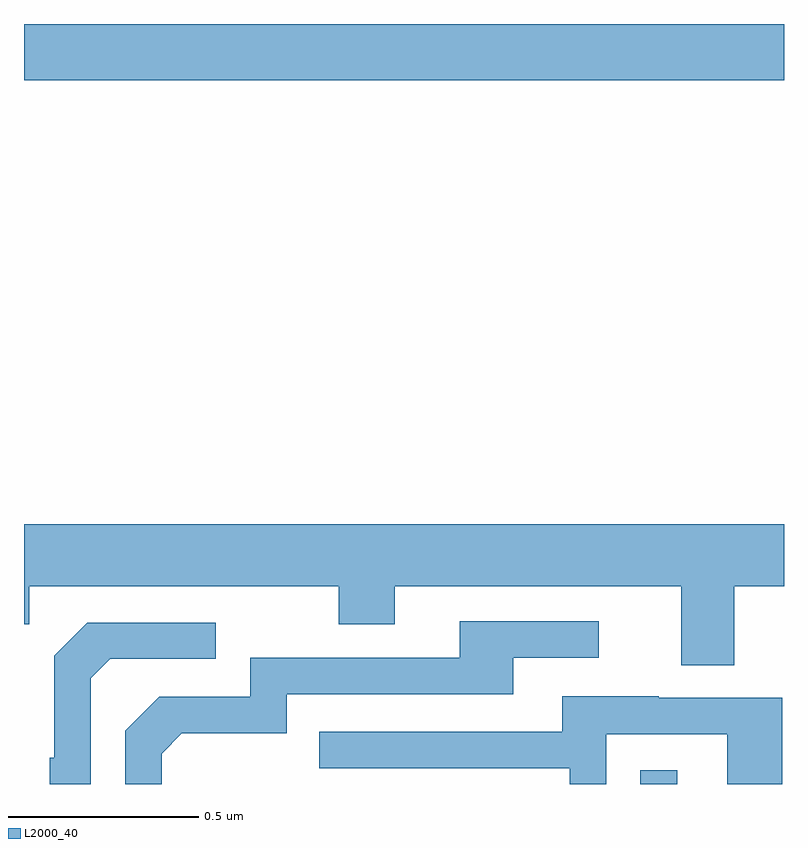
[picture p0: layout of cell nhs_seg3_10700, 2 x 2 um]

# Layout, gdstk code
import gdstk
lib = gdstk.Library(unit=1e-6, precision=1e-09)
def R(c, l, rs):  # rectangles x0, y0, x1, y1
    for r in rs: c.add(gdstk.rectangle(r[:2], r[2:], *l))
def P(c, l, *ps):  # polygons
    for p in ps: c.add(gdstk.Polygon(p, *l))
L2000_40 = (2000, 40)

nhs_seg3_10700 = lib.new_cell('nhs_seg3_10700')
R(nhs_seg3_10700, L2000_40, [(245.622,696.4,245.719,696.436), (244,698.252,246,698.4)])
P(nhs_seg3_10700, L2000_40, [(245.869,696.92),(246,696.92),(246,697.084),(244,697.084),(244,696.821),(244.014,696.821),(244.014,696.92),(244.828,696.92),(244.828,696.821),(244.975,696.821),(244.975,696.92),(245.729,696.92),(245.729,696.712),(245.869,696.712)],
  [(244.362,696.48),(244.415,696.533),(244.692,696.533),(244.692,696.636),(245.287,696.636),(245.287,696.732),(245.512,696.732),(245.512,696.828),(245.147,696.828),(245.147,696.732),(244.596,696.732),(244.596,696.63),(244.356,696.63),(244.266,696.54),(244.266,696.4),(244.362,696.4)],
  [(244.176,696.678),(244.227,696.729),(244.504,696.729),(244.504,696.825),(244.167,696.825),(244.08,696.738),(244.08,696.469),(244.068,696.469),(244.068,696.4),(244.176,696.4)],
  [(245.532,696.531),(245.85,696.531),(245.85,696.4),(245.995,696.4),(245.995,696.627),(245.671,696.627),(245.671,696.631),(245.417,696.631),(245.417,696.537),(244.777,696.537),(244.777,696.441),(245.436,696.441),(245.436,696.4),(245.532,696.4)])

lib.write_gds('nhs_seg3_10700.gds')
